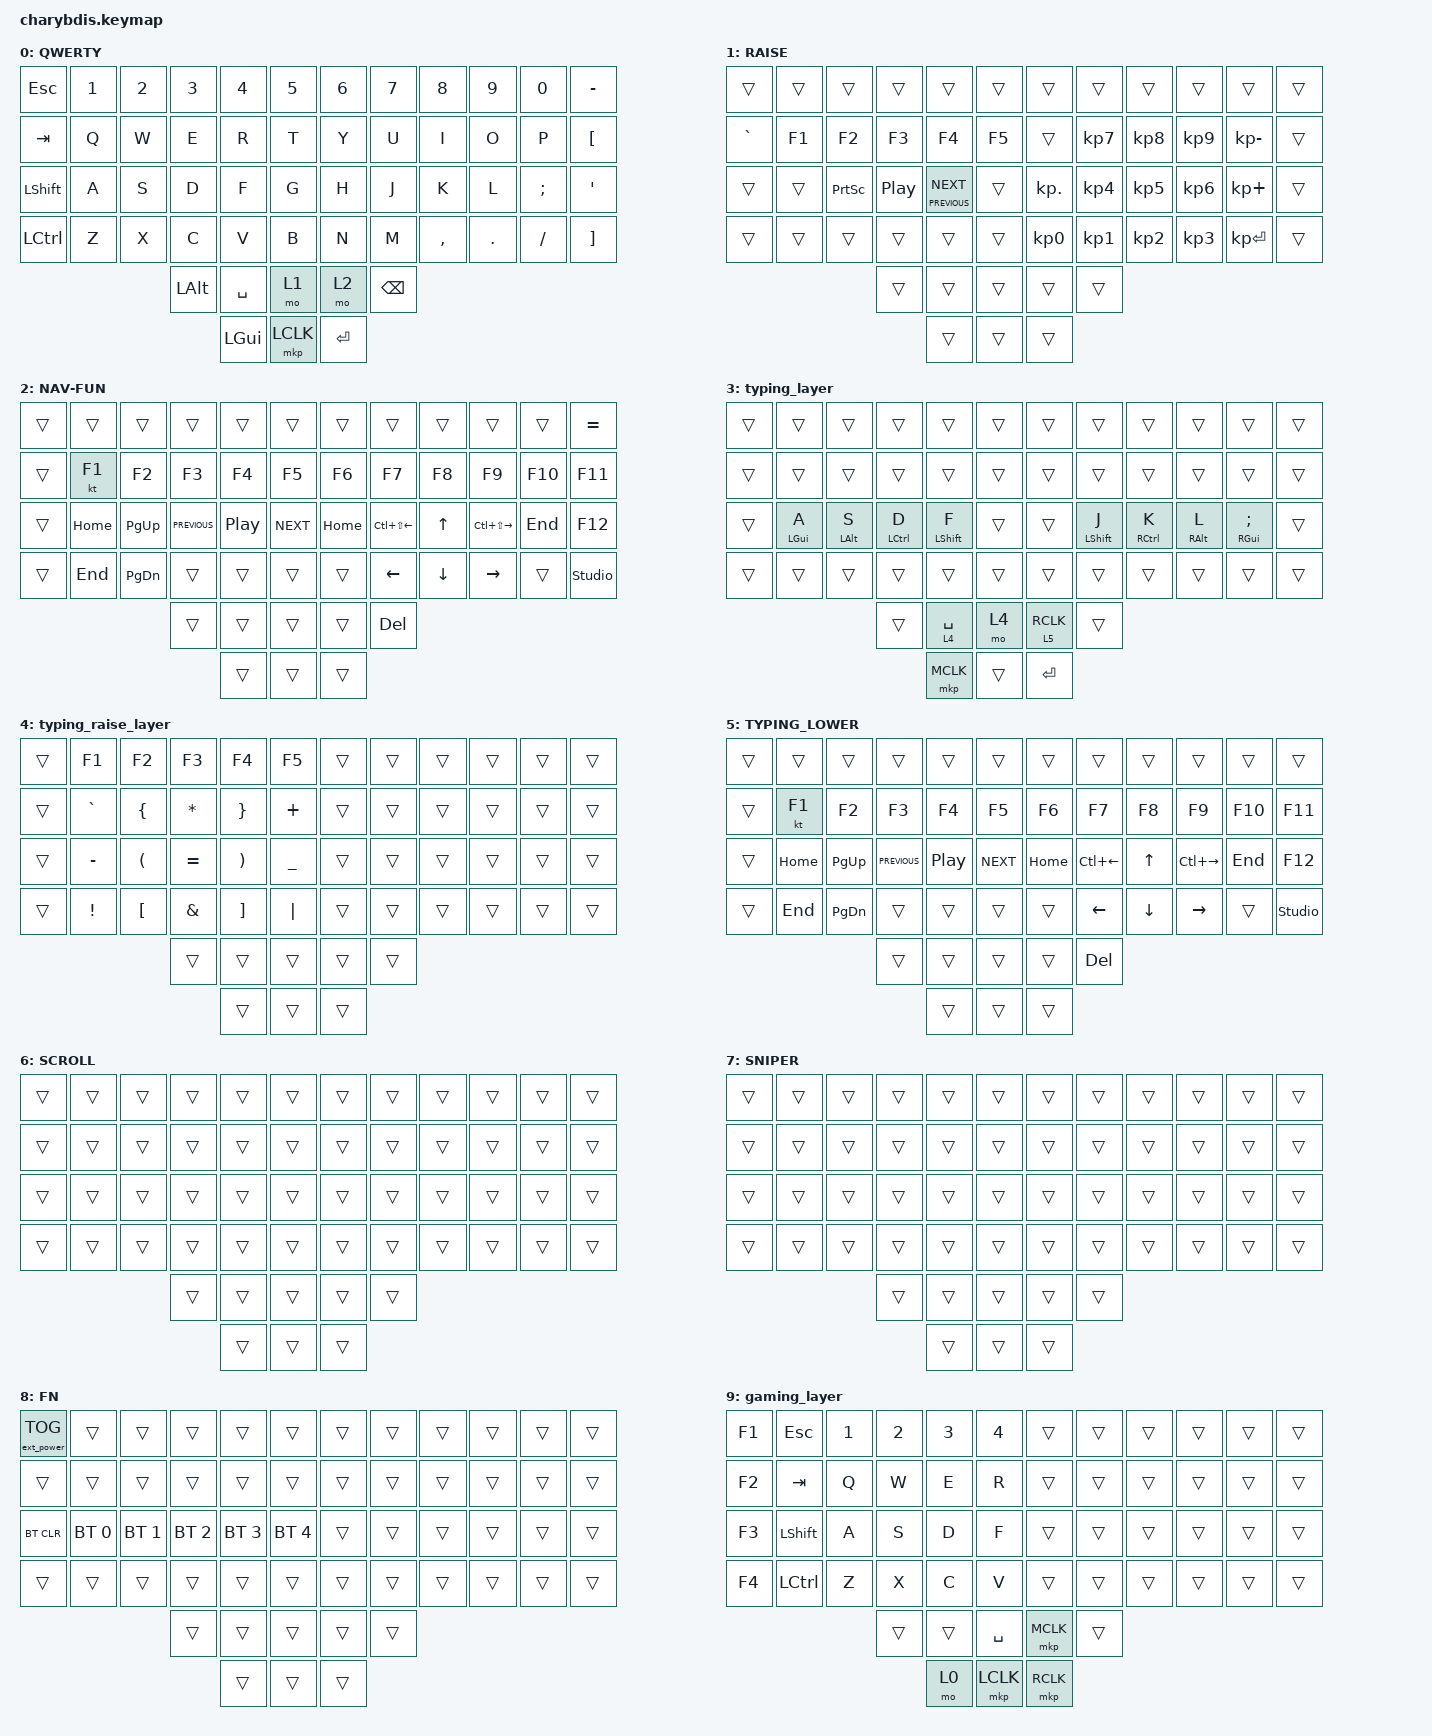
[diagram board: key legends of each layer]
#include <dt-bindings/zmk/mouse.h>
#include <behaviors/mouse_keys.dtsi>
#include <behaviors.dtsi>
#include <dt-bindings/zmk/bt.h>
#include <dt-bindings/zmk/ext_power.h>
#include <dt-bindings/zmk/keys.h>
#include <dt-bindings/zmk/pointing.h>

/ {
    /* input config for mouse move mode */

    trackball_listener {
        compatible = "zmk,input-behavior-listener";
        device = <&vtrackball>;
        layers = <0 3 9>;
        evt-type = <INPUT_EV_REL>;
        x-input-code = <INPUT_REL_X>;
        y-input-code = <INPUT_REL_Y>;
        scale-multiplier = <1>;
        scale-divisor = <2>;

        // bindings = <&ib_toggle_layer 7>;
    };

    /* input config for mouse scroll mode */

    trackball_scroll_listener {
        compatible = "zmk,input-behavior-listener";
        device = <&vtrackball>;
        layers = <1 2 4 5 6>;
        evt-type = <INPUT_EV_REL>;
        x-input-code = <INPUT_REL_MISC>;
        y-input-code = <INPUT_REL_WHEEL>;
        y-invert;
        bindings = <&ib_wheel_scaler 1 28>;
    };

    /* input config for snipe mode */

    trackball_snipe_listener {
        compatible = "zmk,input-behavior-listener";
        device = <&vtrackball>;
        layers = <7>;
        evt-type = <INPUT_EV_REL>;
        x-input-code = <INPUT_REL_X>;
        y-input-code = <INPUT_REL_Y>;
        scale-multiplier = <1>;
        scale-divisor = <4>;
    };

    /* define a resolution down scaler only for INPUT_REL_WHEEL */

    ib_wheel_scaler: ib_wheel_scaler {
        compatible = "zmk,input-behavior-scaler";
        #binding-cells = <2>;
        evt-type = <INPUT_EV_REL>;
        input-code = <INPUT_REL_WHEEL>;
    };

    /* adjust cooldown waiting period for mouse key layer after activated */

    ib_toggle_layer: ib_toggle_layer {
        compatible = "zmk,input-behavior-tog-layer";
        #binding-cells = <1>;
        time-to-live-ms = <750>;
    };

    combos {
        compatible = "zmk,combos";

        to-WIN {
            bindings = <&to 0>;
            key-positions = <50 51 49 52>;
        };

        to-TYPING {
            bindings = <&to 3>;
            key-positions = <53 54 55>;
        };

        to-FN {
            bindings = <&to 8>;
            key-positions = <41 42 40 43>;
        };

        caps_word {
            bindings = <&caps_word>;
            key-positions = <31 28>;
        };

        rh_leftClick {
            bindings = <&mkp LCLK>;
            key-positions = <43 44>;
        };

        rh_rightClick {
            bindings = <&mkp RCLK>;
            key-positions = <44 45>;
        };

        rh_middleClick {
            bindings = <&mkp MCLK>;
            key-positions = <44 45 43>;
        };

        lh_leftClick {
            bindings = <&mkp LCLK>;
            key-positions = <40 39>;
        };

        lh_rightClick {
            bindings = <&mkp RCLK>;
            key-positions = <38 39>;
        };

        lh_middleClick {
            bindings = <&mkp MCLK>;
            key-positions = <38 39 40>;
        };

        CAPZ {
            bindings = <&kp CAPSLOCK>;
            key-positions = <24 25>;
        };

        to_SCROLL {
            bindings = <&mo 6>;
            key-positions = <45 46>;
        };

        studio_unlock {
            bindings = <&studio_unlock>;
            key-positions = <0 1>;
        };

        to-GAMING {
            bindings = <&to 9>;
            key-positions = <48 52 49 51>;
        };

        bootloader {
            bindings = <&bootloader>;
            key-positions = <11 10 9>;
        };
    };

    behaviors {
        hmr: hmr {
            compatible = "zmk,behavior-hold-tap";
            label = "HMR";
            bindings = <&kp>, <&kp>;

            #binding-cells = <2>;
            tapping-term-ms = <190>;
            quick-tap-ms = <175>;
            flavor = "balanced";
            hold-trigger-key-positions = <0 1 2 3 4 5 12 13 14 15 16 17 24 25 26 27 28 29 36 37 38 39 40 41 48 49 50 53 54 51 52 55>;
            hold-trigger-on-release;
        };

        hml: hml {
            compatible = "zmk,behavior-hold-tap";
            label = "HML";
            bindings = <&kp>, <&kp>;

            #binding-cells = <2>;
            tapping-term-ms = <190>;
            quick-tap-ms = <175>;
            flavor = "balanced";
            hold-trigger-key-positions = <48 49 50 53 54 51 52 55 6 7 8 9 10 11 18 19 20 21 22 23 30 31 32 33 34 35 42 43 44 45 46 47 51 52>;
            hold-trigger-on-release;
        };

        lmkp: lmkp {
            compatible = "zmk,behavior-hold-tap";
            label = "LMPK";
            flavor = "tap-preferred";
            bindings = <&mo>, <&mkp>;

            #binding-cells = <2>;
            tapping-term-ms = <190>;
            quick-tap-ms = <175>;
        };
    };

    keymap {
        compatible = "zmk,keymap";

        default_win_layer {
            bindings = <
&kp ESCAPE      &kp N1  &kp N2  &kp N3        &kp N4        &kp N5       &kp N6     &kp N7         &kp N8     &kp N9   &kp N0     &kp MINUS
&kp TAB         &kp Q   &kp W   &kp E         &kp R         &kp T        &kp Y      &kp U          &kp I      &kp O    &kp P      &kp LBKT
&kp LEFT_SHIFT  &kp A   &kp S   &kp D         &kp F         &kp G        &kp H      &kp J          &kp K      &kp L    &kp SEMI   &kp APOSTROPHE
&kp LCTRL       &kp Z   &kp X   &kp C         &kp V         &kp B        &kp N      &kp M          &kp COMMA  &kp DOT  &kp SLASH  &kp RIGHT_BRACKET
                                &kp LEFT_ALT  &kp SPACE     &mo 1        &mo 2      &kp BACKSPACE
                                              &kp LEFT_GUI  &mkp LCLK    &kp ENTER
            >;

            label = "QWERTY";
        };

        win_raise_layer {
            bindings = <
&trans     &trans  &trans           &trans            &trans                 &trans    &trans           &trans           &trans           &trans           &trans        &trans
&kp GRAVE  &kp F1  &kp F2           &kp F3            &kp F4                 &kp F5    &trans           &kp KP_NUMBER_7  &kp KP_N8        &kp KP_NUMBER_9  &kp KP_MINUS  &trans
&trans     &trans  &kp PRINTSCREEN  &kp C_PLAY_PAUSE  &mt C_PREVIOUS C_NEXT  &trans    &kp KP_DOT       &kp KP_NUMBER_4  &kp KP_NUMBER_5  &kp KP_NUMBER_6  &kp KP_PLUS   &trans
&trans     &trans  &trans           &trans            &trans                 &trans    &kp KP_NUMBER_0  &kp KP_N1        &kp KP_NUMBER_2  &kp KP_NUMBER_3  &kp KP_ENTER  &trans
                                    &trans            &trans                 &trans    &trans           &trans
                                                      &trans                 &trans    &trans
            >;

            label = "RAISE ";
        };

        win_lower_layer {
            bindings = <
&trans  &trans    &trans         &trans          &trans            &trans        &trans    &trans                  &trans        &trans             &trans   &kp EQUAL
&trans  &kt F1    &kp F2         &kp F3          &kp F4            &kp F5        &kp F6    &kp F7                  &kp F8        &kp F9             &kp F10  &kp F11
&trans  &kp HOME  &kp PAGE_UP    &kp C_PREVIOUS  &kp C_PLAY_PAUSE  &kp C_NEXT    &kp HOME  &kp LC(LS(LEFT_ARROW))  &kp UP_ARROW  &kp LC(LS(RIGHT))  &kp END  &kp F12
&trans  &kp END   &kp PAGE_DOWN  &trans          &trans            &trans        &trans    &kp LEFT_ARROW          &kp DOWN      &kp RIGHT          &trans   &studio_unlock
                                 &trans          &trans            &trans        &trans    &kp DELETE
                                                 &trans            &trans        &trans
            >;

            label = "NAV-FUN";
        };

        typing_layer {
            bindings = <
&trans  &trans           &trans           &trans        &trans             &trans    &trans        &trans             &trans        &trans            &trans                    &trans
&trans  &trans           &trans           &trans        &trans             &trans    &trans        &trans             &trans        &trans            &trans                    &trans
&trans  &hml LEFT_GUI A  &hml LEFT_ALT S  &hml LCTRL D  &hml LEFT_SHIFT F  &trans    &trans        &hmr LEFT_SHIFT J  &hmr RCTRL K  &hmr RIGHT_ALT L  &hmr RIGHT_GUI SEMICOLON  &trans
&trans  &trans           &trans           &trans        &trans             &trans    &trans        &trans             &trans        &trans            &trans                    &trans
                                          &trans        &lt 4 SPACE        &mo 4     &lmkp 5 RCLK  &trans
                                                        &mkp MCLK          &trans    &kp ENTER
            >;
        };

        typing_raise_layer {
            bindings = <
&trans  &kp F1           &kp F2                &kp F3     &kp F4                 &kp F5       &trans  &trans  &trans  &trans  &trans  &trans
&trans  &kp GRAVE        &kp LEFT_BRACE        &kp ASTRK  &kp RIGHT_BRACE        &kp PLUS     &trans  &trans  &trans  &trans  &trans  &trans
&trans  &kp MINUS        &kp LEFT_PARENTHESIS  &kp EQUAL  &kp RIGHT_PARENTHESIS  &kp UNDER    &trans  &trans  &trans  &trans  &trans  &trans
&trans  &kp EXCLAMATION  &kp LBKT              &kp AMPS   &kp RBKT               &kp PIPE     &trans  &trans  &trans  &trans  &trans  &trans
                                               &trans     &trans                 &trans       &trans  &trans
                                                          &trans                 &trans       &trans
            >;
        };

        typing_lower_layer {
            label = "TYPING_LOWER";
            bindings = <
&trans  &trans    &trans         &trans          &trans            &trans        &trans    &trans              &trans        &trans               &trans   &trans
&trans  &kt F1    &kp F2         &kp F3          &kp F4            &kp F5        &kp F6    &kp F7              &kp F8        &kp F9               &kp F10  &kp F11
&trans  &kp HOME  &kp PAGE_UP    &kp C_PREVIOUS  &kp C_PLAY_PAUSE  &kp C_NEXT    &kp HOME  &kp LC(LEFT_ARROW)  &kp UP_ARROW  &kp LC(RIGHT_ARROW)  &kp END  &kp F12
&trans  &kp END   &kp PAGE_DOWN  &trans          &trans            &trans        &trans    &kp LEFT_ARROW      &kp DOWN      &kp RIGHT            &trans   &studio_unlock
                                 &trans          &trans            &trans        &trans    &kp DELETE
                                                 &trans            &trans        &trans
            >;
        };

        scroll_layer {
            bindings = <
&trans  &trans  &trans  &trans  &trans  &trans    &trans  &trans  &trans  &trans  &trans  &trans
&trans  &trans  &trans  &trans  &trans  &trans    &trans  &trans  &trans  &trans  &trans  &trans
&trans  &trans  &trans  &trans  &trans  &trans    &trans  &trans  &trans  &trans  &trans  &trans
&trans  &trans  &trans  &trans  &trans  &trans    &trans  &trans  &trans  &trans  &trans  &trans
                        &trans  &trans  &trans    &trans  &trans
                                &trans  &trans    &trans
            >;

            label = "SCROLL";
        };

        sniper_layer {
            bindings = <
&trans  &trans  &trans  &trans  &trans  &trans    &trans  &trans  &trans  &trans  &trans  &trans
&trans  &trans  &trans  &trans  &trans  &trans    &trans  &trans  &trans  &trans  &trans  &trans
&trans  &trans  &trans  &trans  &trans  &trans    &trans  &trans  &trans  &trans  &trans  &trans
&trans  &trans  &trans  &trans  &trans  &trans    &trans  &trans  &trans  &trans  &trans  &trans
                        &trans  &trans  &trans    &trans  &trans
                                &trans  &trans    &trans
            >;

            label = "SNIPER";
        };

        keeb_pref_layer {
            label = "FN";
            bindings = <
&ext_power EP_TOG  &trans        &trans        &trans        &trans        &trans          &trans  &trans  &trans  &trans  &trans  &trans
&trans             &trans        &trans        &trans        &trans        &trans          &trans  &trans  &trans  &trans  &trans  &trans
&bt BT_CLR         &bt BT_SEL 0  &bt BT_SEL 1  &bt BT_SEL 2  &bt BT_SEL 3  &bt BT_SEL 4    &trans  &trans  &trans  &trans  &trans  &trans
&trans             &trans        &trans        &trans        &trans        &trans          &trans  &trans  &trans  &trans  &trans  &trans
                                               &trans        &trans        &trans          &trans  &trans
                                                             &trans        &trans          &trans
            >;
        };

        gaming_layer {
            bindings = <
&kp F1  &kp ESC    &kp N1  &kp N2  &kp N3  &kp N4       &trans     &trans  &trans  &trans  &trans  &trans
&kp F2  &kp TAB    &kp Q   &kp W   &kp E   &kp R        &trans     &trans  &trans  &trans  &trans  &trans
&kp F3  &kp LSHFT  &kp A   &kp S   &kp D   &kp F        &trans     &trans  &trans  &trans  &trans  &trans
&kp F4  &kp LCTRL  &kp Z   &kp X   &kp C   &kp V        &trans     &trans  &trans  &trans  &trans  &trans
                           &trans  &trans  &kp SPACE    &mkp MCLK  &trans
                                   &mo 0   &mkp LCLK    &mkp RCLK
            >;
        };
    };

    conditional_layers {
        compatible = "zmk,conditional-layers";

        scroll_on_raise {
            if-layers = <1>;
            then-layer = <6>;
        };
    };
};
